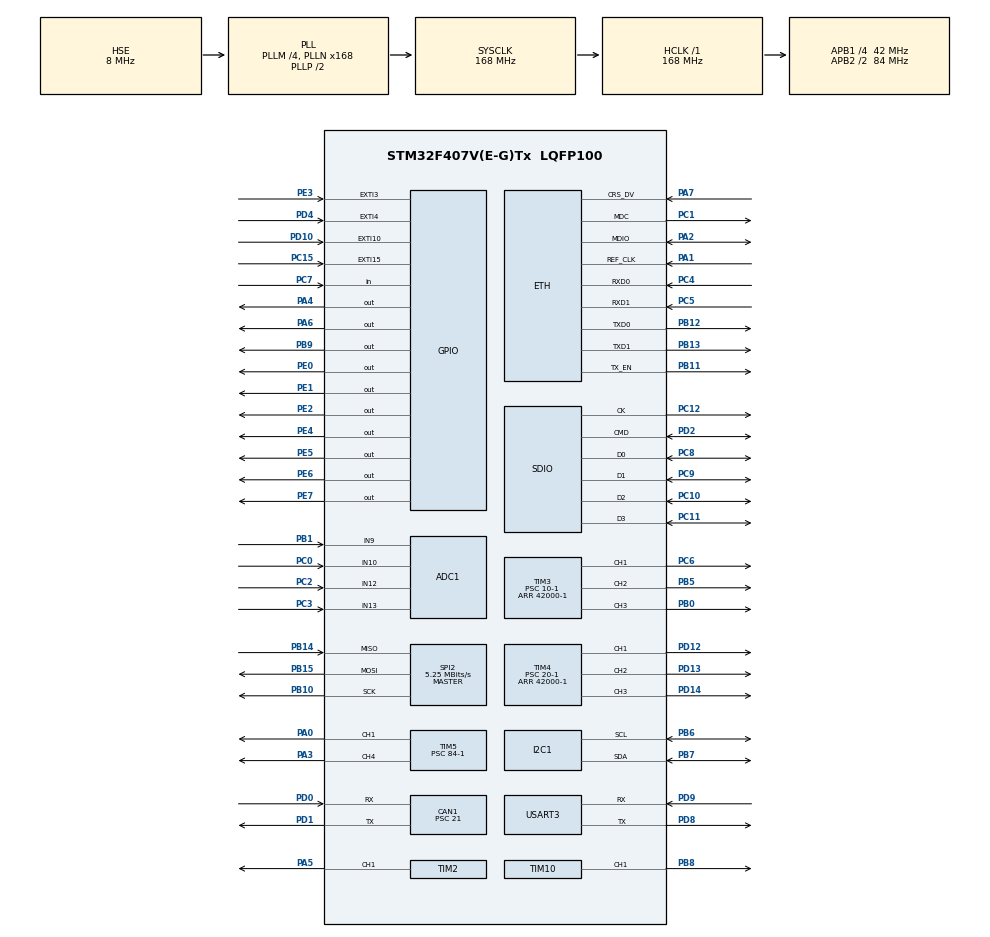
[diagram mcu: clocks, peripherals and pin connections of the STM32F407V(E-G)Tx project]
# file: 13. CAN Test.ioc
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ADC1.Channel-0\#ChannelRegularConversion=ADC_CHANNEL_10
ADC1.Channel-1\#ChannelRegularConversion=ADC_CHANNEL_12
ADC1.Channel-2\#ChannelRegularConversion=ADC_CHANNEL_13
ADC1.Channel-3\#ChannelRegularConversion=ADC_CHANNEL_9
ADC1.ContinuousConvMode=ENABLE
ADC1.DMAContinuousRequests=ENABLE
ADC1.NbrOfConversion=4
ADC1.NbrOfConversionFlag=1
ADC1.Rank-0\#ChannelRegularConversion=1
ADC1.Rank-1\#ChannelRegularConversion=2
ADC1.Rank-2\#ChannelRegularConversion=3
ADC1.Rank-3\#ChannelRegularConversion=4
ADC1.SamplingTime-0\#ChannelRegularConversion=ADC_SAMPLETIME_84CYCLES
ADC1.SamplingTime-1\#ChannelRegularConversion=ADC_SAMPLETIME_84CYCLES
ADC1.SamplingTime-2\#ChannelRegularConversion=ADC_SAMPLETIME_84CYCLES
ADC1.SamplingTime-3\#ChannelRegularConversion=ADC_SAMPLETIME_84CYCLES
ADC1.ScanConvMode=ENABLE
ADC1.master=1
CAN1.BS1=CAN_BS1_14TQ
CAN1.BS2=CAN_BS2_5TQ
CAN1.CalculateTimeQuantum=500.0
CAN1.Prescaler=21
Dma.ADC1.0.Direction=DMA_PERIPH_TO_MEMORY
Dma.ADC1.0.FIFOMode=DMA_FIFOMODE_DISABLE
Dma.ADC1.0.Instance=DMA2_Stream0
Dma.ADC1.0.MemDataAlignment=DMA_MDATAALIGN_HALFWORD
Dma.ADC1.0.MemInc=DMA_MINC_ENABLE
Dma.ADC1.0.Mode=DMA_CIRCULAR
Dma.ADC1.0.PeriphDataAlignment=DMA_PDATAALIGN_HALFWORD
Dma.ADC1.0.PeriphInc=DMA_PINC_DISABLE
Dma.ADC1.0.Priority=DMA_PRIORITY_LOW
Dma.Request0=ADC1
Dma.Request1=SDIO_TX
Dma.Request2=SDIO_RX
Dma.SDIO_RX.2.Direction=DMA_PERIPH_TO_MEMORY
Dma.SDIO_RX.2.FIFOMode=DMA_FIFOMODE_ENABLE
Dma.SDIO_RX.2.FIFOThreshold=DMA_FIFO_THRESHOLD_FULL
Dma.SDIO_RX.2.Instance=DMA2_Stream6
Dma.SDIO_RX.2.MemBurst=DMA_MBURST_INC4
Dma.SDIO_RX.2.MemDataAlignment=DMA_MDATAALIGN_WORD
Dma.SDIO_RX.2.MemInc=DMA_MINC_ENABLE
Dma.SDIO_RX.2.Mode=DMA_PFCTRL
Dma.SDIO_RX.2.PeriphBurst=DMA_PBURST_INC4
Dma.SDIO_RX.2.PeriphDataAlignment=DMA_PDATAALIGN_WORD
Dma.SDIO_RX.2.PeriphInc=DMA_PINC_DISABLE
Dma.SDIO_RX.2.Priority=DMA_PRIORITY_LOW
Dma.SDIO_TX.1.Direction=DMA_MEMORY_TO_PERIPH
Dma.SDIO_TX.1.FIFOMode=DMA_FIFOMODE_ENABLE
Dma.SDIO_TX.1.FIFOThreshold=DMA_FIFO_THRESHOLD_FULL
Dma.SDIO_TX.1.Instance=DMA2_Stream3
Dma.SDIO_TX.1.MemBurst=DMA_MBURST_INC4
Dma.SDIO_TX.1.MemDataAlignment=DMA_MDATAALIGN_WORD
Dma.SDIO_TX.1.MemInc=DMA_MINC_ENABLE
Dma.SDIO_TX.1.Mode=DMA_PFCTRL
Dma.SDIO_TX.1.PeriphBurst=DMA_PBURST_INC4
Dma.SDIO_TX.1.PeriphDataAlignment=DMA_PDATAALIGN_WORD
Dma.SDIO_TX.1.PeriphInc=DMA_PINC_DISABLE
Dma.SDIO_TX.1.Priority=DMA_PRIORITY_LOW
ETH.MediaInterface=ETH_MEDIA_INTERFACE_RMII
ETH.PHY_Name_RMII=userPHY
ETH.PHY_User_Name=DP83848_PHY
FATFS.USE_DMA_CODE_SD=1
FATFS._USE_LFN=1
I2C1.I2C_Mode=I2C_Fast
LWIP.GATEWAY_ADDRESS=192.168.000.001
LWIP.IP_ADDRESS=192.168.000.254
LWIP.LWIP_DHCP=0
LWIP.NETMASK_ADDRESS=255.255.255.000
LWIP.Version=v2.0.3_Cube
Mcu.Family=STM32F4
Mcu.Name=STM32F407V(E-G)Tx
Mcu.Package=LQFP100
NVIC.CAN1_RX0_IRQn=true\:0\:0\:false\:false\:true\:true
NVIC.DMA2_Stream0_IRQn=true\:0\:0\:false\:false\:true\:false
NVIC.DMA2_Stream3_IRQn=true\:0\:0\:false\:false\:true\:false
NVIC.DMA2_Stream6_IRQn=true\:0\:0\:false\:false\:true\:false
NVIC.EXTI15_10_IRQn=true\:0\:0\:false\:true\:true\:5\:true
NVIC.EXTI3_IRQn=true\:0\:0\:false\:true\:true\:3\:true
NVIC.EXTI4_IRQn=true\:0\:0\:false\:true\:true\:4\:true
NVIC.PriorityGroup=NVIC_PRIORITYGROUP_4
NVIC.SDIO_IRQn=true\:0\:0\:false\:false\:true\:true
NVIC.TIM7_IRQn=true\:0\:0\:false\:true\:true\:2\:true
NVIC.USART3_IRQn=true\:0\:0\:false\:true\:true\:1\:true
PA0-WKUP.Signal=S_TIM5_CH1
PA1.Mode=RMII
PA1.Signal=ETH_REF_CLK
PA2.Mode=RMII
PA2.Signal=ETH_MDIO
PA3.Signal=S_TIM5_CH4
PA4.Signal=GPIO_Output
PA5.Signal=S_TIM2_CH1_ETR
PA6.Signal=GPIO_Output
PA7.Mode=RMII
PA7.Signal=ETH_CRS_DV
PB0.Signal=S_TIM3_CH3
PB1.Signal=ADCx_IN9
PB10.Mode=Full_Duplex_Master
PB10.Signal=SPI2_SCK
PB11.Mode=RMII
PB11.Signal=ETH_TX_EN
PB12.Mode=RMII
PB12.Signal=ETH_TXD0
PB13.Mode=RMII
PB13.Signal=ETH_TXD1
PB14.Mode=Full_Duplex_Master
PB14.Signal=SPI2_MISO
PB15.Mode=Full_Duplex_Master
PB15.Signal=SPI2_MOSI
PB5.Signal=S_TIM3_CH2
PB6.GPIO_PuPdOD=GPIO_NOPULL
PB6.Mode=I2C
PB6.Signal=I2C1_SCL
PB7.GPIO_PuPdOD=GPIO_NOPULL
PB7.Mode=I2C
PB7.Signal=I2C1_SDA
PB8.Signal=S_TIM10_CH1
PB9.Signal=GPIO_Output
PC0.Signal=ADCx_IN10
PC1.Mode=RMII
PC1.Signal=ETH_MDC
PC10.Mode=SD_4_bits_Wide_bus
PC10.Signal=SDIO_D2
PC11.Mode=SD_4_bits_Wide_bus
PC11.Signal=SDIO_D3
PC12.Mode=SD_4_bits_Wide_bus
PC12.Signal=SDIO_CK
PC15-OSC32_OUT.GPIO_ModeDefaultEXTI=GPIO_MODE_IT_RISING
PC15-OSC32_OUT.Signal=GPXTI15
PC2.Signal=ADCx_IN12
PC3.Signal=ADCx_IN13
PC4.Mode=RMII
PC4.Signal=ETH_RXD0
PC5.Mode=RMII
PC5.Signal=ETH_RXD1
PC6.Signal=S_TIM3_CH1
PC7.Signal=GPIO_Input
PC8.Mode=SD_4_bits_Wide_bus
PC8.Signal=SDIO_D0
PC9.Mode=SD_4_bits_Wide_bus
PC9.Signal=SDIO_D1
PD0.Mode=Master
PD0.Signal=CAN1_RX
PD1.Mode=Master
PD1.Signal=CAN1_TX
PD10.Signal=GPXTI10
PD12.Signal=S_TIM4_CH1
PD13.Signal=S_TIM4_CH2
PD14.Signal=S_TIM4_CH3
PD2.Mode=SD_4_bits_Wide_bus
PD2.Signal=SDIO_CMD
PD4.Signal=GPXTI4
PD8.Mode=Asynchronous
PD8.Signal=USART3_TX
PD9.Mode=Asynchronous
PD9.Signal=USART3_RX
PE0.Signal=GPIO_Output
PE1.Signal=GPIO_Output
PE2.Signal=GPIO_Output
PE3.Signal=GPXTI3
PE4.Signal=GPIO_Output
PE5.Signal=GPIO_Output
PE6.Signal=GPIO_Output
PE7.Signal=GPIO_Output
PH0-OSC_IN.Mode=HSE-External-Oscillator
PH0-OSC_IN.Signal=RCC_OSC_IN
PH1-OSC_OUT.Mode=HSE-External-Oscillator
PH1-OSC_OUT.Signal=RCC_OSC_OUT
ProjectManager.HeapSize=0x200
ProjectManager.StackSize=0x400
ProjectManager.TargetToolchain=TrueSTUDIO
RCC.48MHZClocksFreq_Value=48000000
RCC.AHBFreq_Value=168000000
RCC.APB1CLKDivider=RCC_HCLK_DIV4
RCC.APB1Freq_Value=42000000
RCC.APB1TimFreq_Value=84000000
RCC.APB2CLKDivider=RCC_HCLK_DIV2
RCC.APB2Freq_Value=84000000
RCC.APB2TimFreq_Value=168000000
RCC.CortexFreq_Value=168000000
RCC.HCLKFreq_Value=168000000
RCC.HSE_VALUE=8000000
RCC.HSI_VALUE=16000000
RCC.LSE_VALUE=32768
RCC.PLLM=4
RCC.PLLN=168
RCC.PLLQ=7
RCC.PLLSourceVirtual=RCC_PLLSOURCE_HSE
RCC.SYSCLKFreq_VALUE=168000000
RCC.SYSCLKSource=RCC_SYSCLKSOURCE_PLLCLK
RCC.VCOOutputFreq_Value=336000000
SH.ADCx_IN10.0=ADC1_IN10,IN10
SH.ADCx_IN12.0=ADC1_IN12,IN12
SH.ADCx_IN13.0=ADC1_IN13,IN13
SH.ADCx_IN9.0=ADC1_IN9,IN9
SH.S_TIM10_CH1.0=TIM10_CH1,PWM Generation1 CH1
SH.S_TIM2_CH1_ETR.0=TIM2_CH1,PWM Generation1 CH1
SH.S_TIM3_CH1.0=TIM3_CH1,PWM Generation1 CH1
SH.S_TIM3_CH2.0=TIM3_CH2,PWM Generation2 CH2
SH.S_TIM3_CH3.0=TIM3_CH3,PWM Generation3 CH3
SH.S_TIM4_CH1.0=TIM4_CH1,PWM Generation1 CH1
SH.S_TIM4_CH2.0=TIM4_CH2,PWM Generation2 CH2
SH.S_TIM4_CH3.0=TIM4_CH3,PWM Generation3 CH3
SH.S_TIM5_CH1.0=TIM5_CH1,PWM Generation1 CH1
SH.S_TIM5_CH4.0=TIM5_CH4,PWM Generation4 CH4
SPI2.BaudRatePrescaler=SPI_BAUDRATEPRESCALER_8
SPI2.CLKPhase=SPI_PHASE_2EDGE
SPI2.CLKPolarity=SPI_POLARITY_HIGH
SPI2.CalculateBaudRate=5.25 MBits/s
SPI2.Direction=SPI_DIRECTION_2LINES
SPI2.Mode=SPI_MODE_MASTER
SPI2.VirtualType=VM_MASTER
TIM10.Channel=TIM_CHANNEL_1
TIM10.Period=10000-1
TIM10.Prescaler=336-1
TIM10.Pulse=100
TIM2.Channel-PWM\ Generation1\ CH1=TIM_CHANNEL_1
TIM2.Period=168-1
TIM2.Prescaler=1000-1
TIM2.Pulse-PWM\ Generation1\ CH1=84
TIM3.Channel-PWM\ Generation1\ CH1=TIM_CHANNEL_1
TIM3.Channel-PWM\ Generation2\ CH2=TIM_CHANNEL_2
TIM3.Channel-PWM\ Generation3\ CH3=TIM_CHANNEL_3
TIM3.Period=42000-1
TIM3.Prescaler=10-1
TIM3.Pulse-PWM\ Generation1\ CH1=21000-1
TIM3.Pulse-PWM\ Generation2\ CH2=10500-1
TIM3.Pulse-PWM\ Generation3\ CH3=5250-1
TIM4.Channel-PWM\ Generation1\ CH1=TIM_CHANNEL_1
TIM4.Channel-PWM\ Generation2\ CH2=TIM_CHANNEL_2
TIM4.Channel-PWM\ Generation3\ CH3=TIM_CHANNEL_3
TIM4.Period=42000-1
TIM4.Prescaler=20-1
TIM4.Pulse-PWM\ Generation1\ CH1=21000-1
TIM4.Pulse-PWM\ Generation2\ CH2=10500-1
TIM4.Pulse-PWM\ Generation3\ CH3=5250-1
TIM5.Channel-PWM\ Generation1\ CH1=TIM_CHANNEL_1
TIM5.Channel-PWM\ Generation4\ CH4=TIM_CHANNEL_4
TIM5.Period=10000-1
TIM5.Prescaler=84-1
TIM5.Pulse-PWM\ Generation1\ CH1=5000
TIM7.Period=8399
TIM7.Prescaler=9999
USART3.VirtualMode=VM_ASYNC
VP_FATFS_VS_SDIO.Mode=SDIO
VP_LWIP_VS_Enabled.Mode=Enabled
VP_TIM10_VS_ClockSourceINT.Mode=Enable_Timer
VP_TIM2_VS_ClockSourceINT.Mode=Internal
VP_TIM3_VS_ClockSourceINT.Mode=Internal
VP_TIM4_VS_ClockSourceINT.Mode=Internal
VP_TIM5_VS_ClockSourceINT.Mode=Internal
VP_TIM7_VS_ClockSourceINT.Mode=Enable_Timer
board=custom

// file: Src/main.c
/**
  ******************************************************************************
  * @file           : main.c
  * @brief          : Main program body
  ******************************************************************************
  * This notice applies to any and all portions of this file
  * that are not between comment pairs USER CODE BEGIN and
  * USER CODE END. Other portions of this file, whether
  * inserted by the user or by software development tools
  * are owned by their respective copyright owners.
  *
  * Copyright (c) 2018 STMicroelectronics International N.V.
  * All rights reserved.
  *
  * Redistribution and use in source and binary forms, with or without
  * modification, are permitted, provided that the following conditions are met:
  *
  * 1. Redistribution of source code must retain the above copyright notice,
  *    this list of conditions and the following disclaimer.
  * 2. Redistributions in binary form must reproduce the above copyright notice,
  *    this list of conditions and the following disclaimer in the documentation
  *    and/or other materials provided with the distribution.
  * 3. Neither the name of STMicroelectronics nor the names of other
  *    contributors to this software may be used to endorse or promote products
  *    derived from this software without specific written permission.
  * 4. This software, including modifications and/or derivative works of this
  *    software, must execute solely and exclusively on microcontroller or
  *    microprocessor devices manufactured by or for STMicroelectronics.
  * 5. Redistribution and use of this software other than as permitted under
  *    this license is void and will automatically terminate your rights under
  *    this license.
  *
  * THIS SOFTWARE IS PROVIDED BY STMICROELECTRONICS AND CONTRIBUTORS "AS IS"
  * AND ANY EXPRESS, IMPLIED OR STATUTORY WARRANTIES, INCLUDING, BUT NOT
  * LIMITED TO, THE IMPLIED WARRANTIES OF MERCHANTABILITY, FITNESS FOR A
  * PARTICULAR PURPOSE AND NON-INFRINGEMENT OF THIRD PARTY INTELLECTUAL PROPERTY
  * RIGHTS ARE DISCLAIMED TO THE FULLEST EXTENT PERMITTED BY LAW. IN NO EVENT
  * SHALL STMICROELECTRONICS OR CONTRIBUTORS BE LIABLE FOR ANY DIRECT, INDIRECT,
  * INCIDENTAL, SPECIAL, EXEMPLARY, OR CONSEQUENTIAL DAMAGES (INCLUDING, BUT NOT
  * LIMITED TO, PROCUREMENT OF SUBSTITUTE GOODS OR SERVICES; LOSS OF USE, DATA,
  * OR PROFITS; OR BUSINESS INTERRUPTION) HOWEVER CAUSED AND ON ANY THEORY OF
  * LIABILITY, WHETHER IN CONTRACT, STRICT LIABILITY, OR TORT (INCLUDING
  * NEGLIGENCE OR OTHERWISE) ARISING IN ANY WAY OUT OF THE USE OF THIS SOFTWARE,
  * EVEN IF ADVISED OF THE POSSIBILITY OF SUCH DAMAGE.
  *
  ******************************************************************************
  */
#include "main.h"
#include "stm32f4xx_hal.h"
#include "adc.h"
#include "can.h"
#include "dma.h"
#include "fatfs.h"
#include "i2c.h"
#include "lwip.h"
#include "sdio.h"
#include "spi.h"
#include "tim.h"
#include "usart.h"
#include "gpio.h"

/* USER CODE BEGIN Includes */
#include "CLCD.h"
#include <stdio.h>
#include "7SEG.h"
#include <math.h>
#include "VS1003.h"
#include "mp3sample.h"
#include "udp_echoserver.h"
/* USER CODE END Includes */

/* USER CODE BEGIN PV */
/* Private variables ---------------------------------------------------------*/
uint8_t rx3_data;
uint8_t SW1_flag = 0;
uint8_t SW2_flag = 0;
uint8_t SW3_flag = 0;
uint8_t SW4_flag = 0;
volatile uint8_t can1_rx0_flag = 0;
extern uint8_t udp_data;
extern uint8_t udp_flag;
/* USER CODE END PV */

void SystemClock_Config(void);
static void MX_NVIC_Init(void);

/* USER CODE BEGIN PFP */
/* Private function prototypes -----------------------------------------------*/
int _write(int file, char* p, int len)
{
	HAL_UART_Transmit(&huart3, p, len, 10);
	return len;
}
/* USER CODE END PFP */

int main(void)
{
  /* USER CODE BEGIN 1 */
	volatile uint16_t adcval[4];
  /* USER CODE END 1 */

  /* MCU Configuration----------------------------------------------------------*/

  /* Reset of all peripherals, Initializes the Flash interface and the Systick. */
  HAL_Init();

  /* Configure the system clock */
  SystemClock_Config();

  /* Initialize all configured peripherals */
  MX_GPIO_Init();
  MX_DMA_Init();
  MX_USART3_UART_Init();
  MX_TIM7_Init();
  MX_TIM3_Init();
  MX_TIM4_Init();
  MX_TIM10_Init();
  MX_TIM2_Init();
  MX_TIM5_Init();
  MX_ADC1_Init();
  MX_I2C1_Init();
  MX_SPI2_Init();
  MX_SDIO_SD_Init();
  MX_FATFS_Init();
  MX_LWIP_Init();
  MX_CAN1_Init();

  /* Initialize interrupts */
  MX_NVIC_Init();
  /* USER CODE BEGIN 2 */
	HAL_GPIO_WritePin(GPIOC, GPIO_PIN_6, GPIO_PIN_SET);
	HAL_GPIO_WritePin(GPIOB, GPIO_PIN_0, GPIO_PIN_SET);
	HAL_GPIO_WritePin(GPIOB, GPIO_PIN_5, GPIO_PIN_SET);

	HAL_GPIO_WritePin(GPIOD, GPIO_PIN_12, GPIO_PIN_SET);
	HAL_GPIO_WritePin(GPIOD, GPIO_PIN_13, GPIO_PIN_SET);
	HAL_GPIO_WritePin(GPIOD, GPIO_PIN_14, GPIO_PIN_SET);

	HAL_UART_Receive_IT(&huart3, &rx3_data, 1);
	HAL_TIM_Base_Start_IT(&htim7);

	CLCD_GPIO_Init();
	CLCD_Init();
	CLCD_Puts(0, 0, "Welcome to");
	CLCD_Puts(0, 1, "M-HIVE");
	CLCD_Clear();

	_7SEG_GPIO_Init();

	HAL_TIM_PWM_Start(&htim3, TIM_CHANNEL_1);
	HAL_TIM_PWM_Start(&htim3, TIM_CHANNEL_2);
	HAL_TIM_PWM_Start(&htim3, TIM_CHANNEL_3);

	HAL_TIM_PWM_Start(&htim4, TIM_CHANNEL_1);
	HAL_TIM_PWM_Start(&htim4, TIM_CHANNEL_2);
	HAL_TIM_PWM_Start(&htim4, TIM_CHANNEL_3);

	HAL_TIM_PWM_Start(&htim10, TIM_CHANNEL_1);

	//HAL_TIM_PWM_Start(&htim2, TIM_CHANNEL_1);

	HAL_TIM_PWM_Start(&htim5, TIM_CHANNEL_1);
	HAL_TIM_PWM_Start(&htim5, TIM_CHANNEL_4);

	HAL_ADC_Start_DMA(&hadc1, &adcval[0], 4);
	//HAL_DAC_Start(&hdac, DAC_CHANNEL_1);

	TIM10->CCR1 = 1500;

	TIM5->CCR1 = 0;
	TIM5->CCR4 = 5000;

	VS1003_Init();
	VS1003_SoftReset();

	  /* tcp echo server Init */
	  udp_echoserver_init();

  /* USER CODE END 2 */

  /* Infinite loop */
  /* USER CODE BEGIN WHILE */
	uint8_t a = 0;
	float f = 1.234;
	uint8_t str[20];
	uint16_t ccr = 0;
	uint16_t psc = 1000;
	uint8_t ud_flag = 0;
	uint16_t dacval = 0;
	uint8_t eeprom[10];// = {0x00, 0x11, 0x22, 0x33, 0x44, 0x55, 0x66, 0x77, 0x88, 0x99};

	//HAL_I2C_Mem_Write(&hi2c1, 0xA0, 0x00, I2C_MEMADD_SIZE_8BIT, &eeprom[0], 10, 10);

	HAL_Delay(3);

	for(int i = 0;i<10;i++) eeprom[i] = 0x00;

	HAL_I2C_Mem_Read(&hi2c1, 0xA0, 0x00, I2C_MEMADD_SIZE_8BIT, &eeprom[0], 10, 10);

	sprintf(str, "%02x %02x %02x %02x %02x", eeprom[0], eeprom[1], eeprom[2], eeprom[3], eeprom[4]);
	CLCD_Puts(0, 0, str);
	sprintf(str, "%02x %02x %02x %02x %02x", eeprom[5], eeprom[6], eeprom[7], eeprom[8], eeprom[9]);
	CLCD_Puts(0, 1, str);

	int i = 0;

	BYTE buf[32] = "Hello world";	// file copy buffer
	uint32_t bw, br;
	/************* 1. FS관련 초기화("0:/"드라이브 할당) ***********/
	if((retSD = f_mount(&SDFatFS, &SDPath[0], 1)) == FR_OK)
	{
		sprintf(str, "f_mount OK %d", retSD); //ff.h에 정의되어있음.
		CLCD_Puts(0, 0, str);
	}
	else
	{
		sprintf(str, "f_mount failed %d", retSD); //ff.h에 정의되어있음.
		CLCD_Puts(0, 0, str);
	}
	/*****************************************************/

////	/************** 2. 파일 생성 및 쓰기 **********************/
////	if((retSD = f_open(&SDFile, "0:/M-HIVE.txt", FA_CREATE_NEW | FA_WRITE)) == FR_OK)
////	{
////		sprintf(buf, "Hello world");
////		f_write(&SDFile, buf, sizeof(buf), &bw);
////
////		sprintf(str, "%d bytes", bw);
////		CLCD_Puts(0, 0, str);
////
////		f_close(&SDFile);
////	}
////	else
////	{
////		sprintf(str, "error %d\n", retSD);
////		CLCD_Puts(0, 0, str);
////	}
////	/**************************************************/
//
//	/****************** 3. 파일 열고 읽기 *******************/
//	if((retSD = f_open(&SDFile, "0:/ChrisP.txt", FA_OPEN_EXISTING | FA_READ)) == FR_OK)
//	{
//		CLCD_Clear();
//
//		f_read(&SDFile, buf, 32, &br);
//		sprintf(str, "%s", buf);
//		CLCD_Puts(0, 0, str);
//
//		sprintf(str, "%d bytes", br);
//		CLCD_Puts(0, 1, str);
//	}
//	else
//	{
//		sprintf(str, "open error %d\n", retSD);
//		CLCD_Puts(0, 0, str);
//	}
//	/*************************************************/

	/**************** 폴더내 파일 정보 읽기 *******************/
	DIR dir;
	FILINFO filinfo;
	uint16_t filecnt = 0;
	if((retSD = f_opendir(&dir, "0:/")) == FR_OK) // (0:/) 폴더 열어서 dir에 그 정보를 저장
	{
		while(1) // 파일 갯수 세기
		{
			retSD = f_readdir(&dir, &filinfo); //디렉토리 내의 파일정보 하나 읽기. 다시 읽으면 그 다음파일로 넘어감.
			if(dir.sect == 0) break; //더이상 읽을 파일이 없는 경우

			printf("%s\t0x%x\n", filinfo.fname, filinfo.fattrib);
			filecnt++;
		}
		printf("\nTotal %d file(s)..\n\n", filecnt);
	}
	else
	{
		printf("The file/directory object is invalid! %d\n", retSD);
	}
	/*************************************************/

	/****************** 파일 열기 ************************/
	unsigned char filename[20] = "0:/1.mp3";
	uint16_t index = 0;

	if((retSD = f_open(&SDFile, filename, FA_OPEN_EXISTING | FA_READ)) == FR_OK)
	{
		CLCD_Clear();
		sprintf(str, "%s opened", filename);
		CLCD_Puts(0, 0, str);
	}
	else
	{
		sprintf(str, "open error %d\n", retSD);
		CLCD_Puts(0, 0, str);
	}
	/*************************************************/

	uint8_t pp_flag = 0;

	canFilter1.FilterMaskIdHigh = 0x7F3 << 5;
	canFilter1.FilterIdHigh = 0x106 << 5;
	canFilter1.FilterMaskIdLow = 0x7F3 << 5;
	canFilter1.FilterIdLow = 0x106 << 5;
	canFilter1.FilterMode = CAN_FILTERMODE_IDMASK;
	canFilter1.FilterScale = CAN_FILTERSCALE_16BIT;
	canFilter1.FilterFIFOAssignment = CAN_FILTER_FIFO0;
	canFilter1.FilterBank = 0;
	canFilter1.FilterActivation = ENABLE;

	HAL_CAN_ConfigFilter(&hcan1, &canFilter1);
	HAL_CAN_ActivateNotification(&hcan1, CAN_IT_RX_FIFO0_MSG_PENDING);
	HAL_CAN_Start(&hcan1);

  while (1)
  {
	  if(can1_rx0_flag)
	  {
		  can1_rx0_flag = 0;

		  CLCD_Clear();
		  sprintf(str, "Rx ID:   0x%3X", canRxHeader.StdId);
		  CLCD_Puts(0, 0, str);
		  sprintf(str, "Rx Data: 0x%2X", can1Rx0Data[0]);
		  CLCD_Puts(0, 1, str);
	  }

	  if(SW1_flag)
	  {
		  SW1_flag = 0;

		  canTxHeader.StdId = 0x102;
		  canTxHeader.RTR = CAN_RTR_DATA;
		  canTxHeader.IDE = CAN_ID_STD;
		  canTxHeader.DLC = 8;

		  for(int i=0;i<8;i++) can1Tx0Data[i]++;

		  TxMailBox = HAL_CAN_GetTxMailboxesFreeLevel(&hcan1);
		  HAL_CAN_AddTxMessage(&hcan1, &canTxHeader, &can1Tx0Data[0], &TxMailBox);
	  }

	  if(SW2_flag)
	  {
		  SW2_flag = 0;

		  canTxHeader.StdId = 0x106;
		  canTxHeader.RTR = CAN_RTR_DATA;
		  canTxHeader.IDE = CAN_ID_STD;
		  canTxHeader.DLC = 8;

		  for(int i=0;i<8;i++) can1Tx0Data[i]++;

		  TxMailBox = HAL_CAN_GetTxMailboxesFreeLevel(&hcan1);
		  HAL_CAN_AddTxMessage(&hcan1, &canTxHeader, &can1Tx0Data[0], &TxMailBox);
	  }

	  if(SW3_flag)
	  {
		  SW3_flag = 0;

		  canTxHeader.StdId = 0x10A;
		  canTxHeader.RTR = CAN_RTR_DATA;
		  canTxHeader.IDE = CAN_ID_STD;
		  canTxHeader.DLC = 8;

		  for(int i=0;i<8;i++) can1Tx0Data[i]++;

		  TxMailBox = HAL_CAN_GetTxMailboxesFreeLevel(&hcan1);
		  HAL_CAN_AddTxMessage(&hcan1, &canTxHeader, &can1Tx0Data[0], &TxMailBox);
	  }

	  if(SW4_flag)
	  {
		  SW4_flag = 0;

		  canTxHeader.StdId = 0x10E;
		  canTxHeader.RTR = CAN_RTR_DATA;
		  canTxHeader.IDE = CAN_ID_STD;
		  canTxHeader.DLC = 8;

		  for(int i=0;i<8;i++) can1Tx0Data[i]++;

		  TxMailBox = HAL_CAN_GetTxMailboxesFreeLevel(&hcan1);
		  HAL_CAN_AddTxMessage(&hcan1, &canTxHeader, &can1Tx0Data[0], &TxMailBox);
	  }

  /* USER CODE END WHILE */

  }

}

void SystemClock_Config(void)
{

  RCC_OscInitTypeDef RCC_OscInitStruct;
  RCC_ClkInitTypeDef RCC_ClkInitStruct;

    /**Configure the main internal regulator output voltage
    */
  __HAL_RCC_PWR_CLK_ENABLE();

  __HAL_PWR_VOLTAGESCALING_CONFIG(PWR_REGULATOR_VOLTAGE_SCALE1);

    /**Initializes the CPU, AHB and APB busses clocks
    */
  RCC_OscInitStruct.OscillatorType = RCC_OSCILLATORTYPE_HSE;
  RCC_OscInitStruct.HSEState = RCC_HSE_ON;
  RCC_OscInitStruct.PLL.PLLState = RCC_PLL_ON;
  RCC_OscInitStruct.PLL.PLLSource = RCC_PLLSOURCE_HSE;
  RCC_OscInitStruct.PLL.PLLM = 4;
  RCC_OscInitStruct.PLL.PLLN = 168;
  RCC_OscInitStruct.PLL.PLLP = RCC_PLLP_DIV2;
  RCC_OscInitStruct.PLL.PLLQ = 7;
  if (HAL_RCC_OscConfig(&RCC_OscInitStruct) != HAL_OK)
  {
    _Error_Handler(__FILE__, __LINE__);
  }

    /**Initializes the CPU, AHB and APB busses clocks
    */
  RCC_ClkInitStruct.ClockType = RCC_CLOCKTYPE_HCLK|RCC_CLOCKTYPE_SYSCLK
                              |RCC_CLOCKTYPE_PCLK1|RCC_CLOCKTYPE_PCLK2;
  RCC_ClkInitStruct.SYSCLKSource = RCC_SYSCLKSOURCE_PLLCLK;
  RCC_ClkInitStruct.AHBCLKDivider = RCC_SYSCLK_DIV1;
  RCC_ClkInitStruct.APB1CLKDivider = RCC_HCLK_DIV4;
  RCC_ClkInitStruct.APB2CLKDivider = RCC_HCLK_DIV2;

  if (HAL_RCC_ClockConfig(&RCC_ClkInitStruct, FLASH_LATENCY_5) != HAL_OK)
  {
    _Error_Handler(__FILE__, __LINE__);
  }

    /**Configure the Systick interrupt time
    */
  HAL_SYSTICK_Config(HAL_RCC_GetHCLKFreq()/1000);

    /**Configure the Systick
    */
  HAL_SYSTICK_CLKSourceConfig(SYSTICK_CLKSOURCE_HCLK);

  /* SysTick_IRQn interrupt configuration */
  HAL_NVIC_SetPriority(SysTick_IRQn, 0, 0);
}

/**
  * @brief NVIC Configuration.
  * @retval None
  */
static void MX_NVIC_Init(void)
{
  /* USART3_IRQn interrupt configuration */
  HAL_NVIC_SetPriority(USART3_IRQn, 0, 0);
  HAL_NVIC_EnableIRQ(USART3_IRQn);
  /* TIM7_IRQn interrupt configuration */
  HAL_NVIC_SetPriority(TIM7_IRQn, 0, 0);
  HAL_NVIC_EnableIRQ(TIM7_IRQn);
  /* EXTI3_IRQn interrupt configuration */
  HAL_NVIC_SetPriority(EXTI3_IRQn, 0, 0);
  HAL_NVIC_EnableIRQ(EXTI3_IRQn);
  /* EXTI4_IRQn interrupt configuration */
  HAL_NVIC_SetPriority(EXTI4_IRQn, 0, 0);
  HAL_NVIC_EnableIRQ(EXTI4_IRQn);
  /* EXTI15_10_IRQn interrupt configuration */
  HAL_NVIC_SetPriority(EXTI15_10_IRQn, 0, 0);
  HAL_NVIC_EnableIRQ(EXTI15_10_IRQn);
}

/* USER CODE BEGIN 4 */
void HAL_UART_RxCpltCallback(UART_HandleTypeDef *huart)
{
	if(huart->Instance == USART3)
	{
		HAL_UART_Receive_IT(&huart3, &rx3_data, 1);
		HAL_UART_Transmit(&huart3, &rx3_data, 1, 10);
	}
}

void HAL_TIM_PeriodElapsedCallback(TIM_HandleTypeDef *htim)
{
	static unsigned short cnt = 0;
	if(htim->Instance == TIM7)
	{
		//HAL_DAC_SetValue(&hdac, DAC_CHANNEL_1, DAC_ALIGN_12B_R, (sinf(2 * 3.1415926535f * 100 * cnt / 1000.f) + 1) * 2047);
		cnt++;
		if(cnt > 999) cnt = 0;
	}
}

void HAL_GPIO_EXTI_Callback(uint16_t GPIO_Pin)
{
	if(GPIO_Pin == GPIO_PIN_3)
	{
		SW1_flag = 1;
	}

	if(GPIO_Pin == GPIO_PIN_15)
	{
		SW2_flag = 1;
	}

	if(GPIO_Pin == GPIO_PIN_4)
	{
		SW3_flag = 1;
	}

	if(GPIO_Pin == GPIO_PIN_10)
	{
		SW4_flag = 1;
	}
}

void HAL_CAN_RxFifo0MsgPendingCallback(CAN_HandleTypeDef *hcan)
{
	if(hcan->Instance == CAN1)
	{
		HAL_CAN_GetRxMessage(&hcan1, CAN_RX_FIFO0, &canRxHeader, &can1Rx0Data[0]);
		can1_rx0_flag = 1;
	}
}
/* USER CODE END 4 */

void _Error_Handler(char *file, int line)
{
  while(1)
  {
  }
}

/************************ (C) COPYRIGHT STMicroelectronics *****END OF FILE****/
